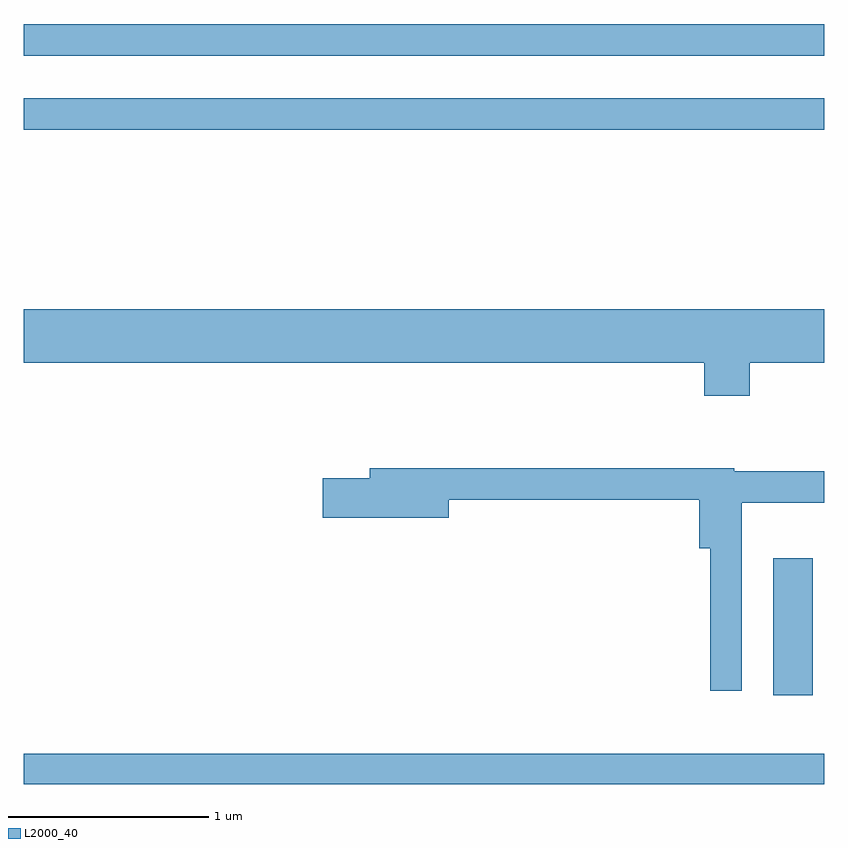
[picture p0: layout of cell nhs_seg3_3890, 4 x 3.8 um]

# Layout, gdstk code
import gdstk
lib = gdstk.Library(unit=1e-6, precision=1e-09)
def R(c, l, rs):  # rectangles x0, y0, x1, y1
    for r in rs: c.add(gdstk.rectangle(r[:2], r[2:], *l))
def P(c, l, *ps):  # polygons
    for p in ps: c.add(gdstk.Polygon(p, *l))
L2000_40 = (2000, 40)

nhs_seg3_3890 = lib.new_cell('nhs_seg3_3890')
R(nhs_seg3_3890, L2000_40, [(299.611,1143.892,303.611,1144.044), (303.356,1144.336,303.554,1145.019), (299.611,1147.161,303.611,1147.319), (299.611,1147.531,303.611,1147.689)])
P(nhs_seg3_3890, L2000_40, [(303.239,1145.996),(303.611,1145.996),(303.611,1146.264),(299.611,1146.264),(299.611,1145.996),(303.011,1145.996),(303.011,1145.831),(303.239,1145.831)],
  [(303.199,1145.296),(303.611,1145.296),(303.611,1145.454),(303.16,1145.454),(303.16,1145.469),(301.341,1145.469),(301.341,1145.419),(301.106,1145.419),(301.106,1145.221),(301.734,1145.221),(301.734,1145.311),(302.986,1145.311),(302.986,1145.071),(303.041,1145.071),(303.041,1144.358),(303.199,1144.358)])

lib.write_gds('nhs_seg3_3890.gds')
